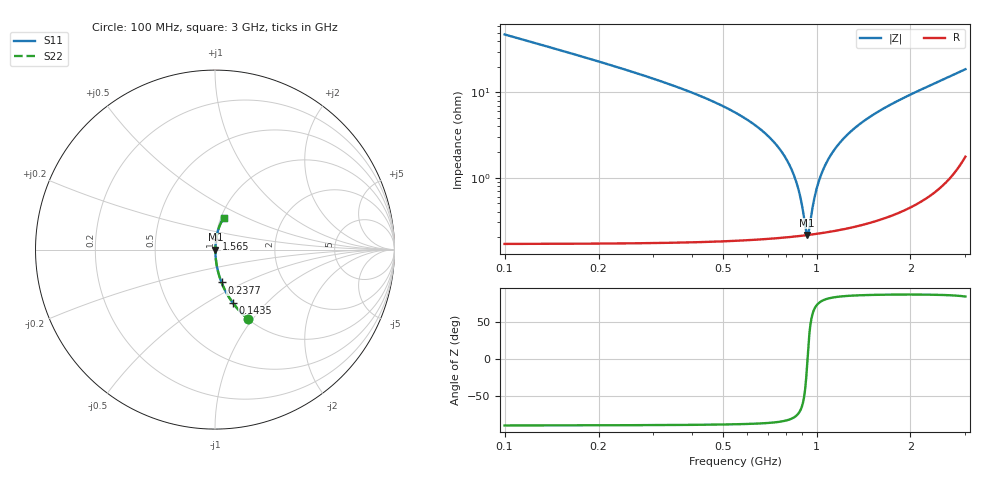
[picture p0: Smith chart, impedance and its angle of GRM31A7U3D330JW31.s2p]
!Murata Part Number: GRM31A7U3D330JW31
!These Parameters are Measured in Series Mode Connection
!Data Generated on Mar 30, 2021
!  o--ll--o
!Port1  Port2
!  o------o
!Operation Temp=25[degC], DC Bias Voltage=0[V]
!Freq. Start=100[MHz] Stop=3[GHz] 401[Steps]
# Hz S RI R 50
!Freq.(Hz) S11(Real) S11(Imag) S21(Real) S21(Imag) S12(Real) S12(Imag) S22(Real) S22(Imag)
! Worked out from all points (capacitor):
!   401 points, 100 MHz to 3 GHz, reference 50 ohm
!   read as one part in series: C = 33 pF near 114.5 MHz
!   lowest |Z| = 213 mohm at 933.8 MHz (marker M1)
!   series resonance near 935.3 MHz, so ESL is about 880 pH
!   S11 on the Smith chart (normalised r, x): 100 MHz: 1.00, -0.95; 143.5 MHz: 1.00, -0.66; 237.8 MHz: 1.00, -0.38; 1.565 GHz: 1.01, +0.12; 3 GHz: 1.04, +0.37
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1e8  0.1861 -0.3875  0.8139 0.3875  0.8139 0.3875  0.1861 -0.3875
1.435e8  0.0985 -0.2955  0.9015 0.2955  0.9015 0.2955  0.0985 -0.2955
2.3775e8  0.0364 -0.1828  0.9636 0.1828  0.9636 0.1828  0.0364 -0.1828
3.755e8  0.0132 -0.1064  0.9868 0.1064  0.9868 0.1064  0.0132 -0.1064
5.8575e8  0.00436 -0.0501  0.9956 0.0501  0.9956 0.0501  0.00436 -0.0501
7.1625e8  0.00271 -0.028  0.9973 0.028  0.9973 0.028  0.00271 -0.028
8.105e8  0.00223 -0.015  0.9978 0.015  0.9978 0.015  0.00223 -0.015
8.685e8  0.00212 -0.00774  0.9979 0.00774  0.9979 0.00774  0.00212 -0.00774
8.9025e8  0.0021 -0.00516  0.9979 0.00516  0.9979 0.00516  0.0021 -0.00516
9.1925e8  0.00211 -0.00181  0.9979 0.00181  0.9979 0.00181  0.00211 -0.00181
9.3375e8  0.00212 -0.000178  0.9979 0.000178  0.9979 0.000178  0.00212 -0.000178
9.4825e8  0.00214 0.00143  0.9979 -0.00143  0.9979 -0.00143  0.00214 0.00143
9.7725e8  0.00219 0.00459  0.9978 -0.00459  0.9978 -0.00459  0.00219 0.00459
1.00625e9  0.00226 0.00767  0.9977 -0.00767  0.9977 -0.00767  0.00226 0.00767
1.0715e9  0.00248 0.0143  0.9975 -0.0143  0.9975 -0.0143  0.00248 0.0143
1.15125e9  0.00287 0.0221  0.9971 -0.0221  0.9971 -0.0221  0.00287 0.0221
1.25275e9  0.00352 0.0314  0.9965 -0.0314  0.9965 -0.0314  0.00352 0.0314
1.55e9  0.00632 0.0567  0.9937 -0.0567  0.9937 -0.0567  0.00632 0.0567
1.5645e9  0.00649 0.0578  0.9935 -0.0578  0.9935 -0.0578  0.00649 0.0578
2.03575e9  0.0138 0.0953  0.9862 -0.0953  0.9862 -0.0953  0.0138 0.0953
2.5215e9  0.0264 0.1343  0.9736 -0.1343  0.9736 -0.1343  0.0264 0.1343
3e9  0.049 0.1737  0.951 -0.1737  0.951 -0.1737  0.049 0.1737
